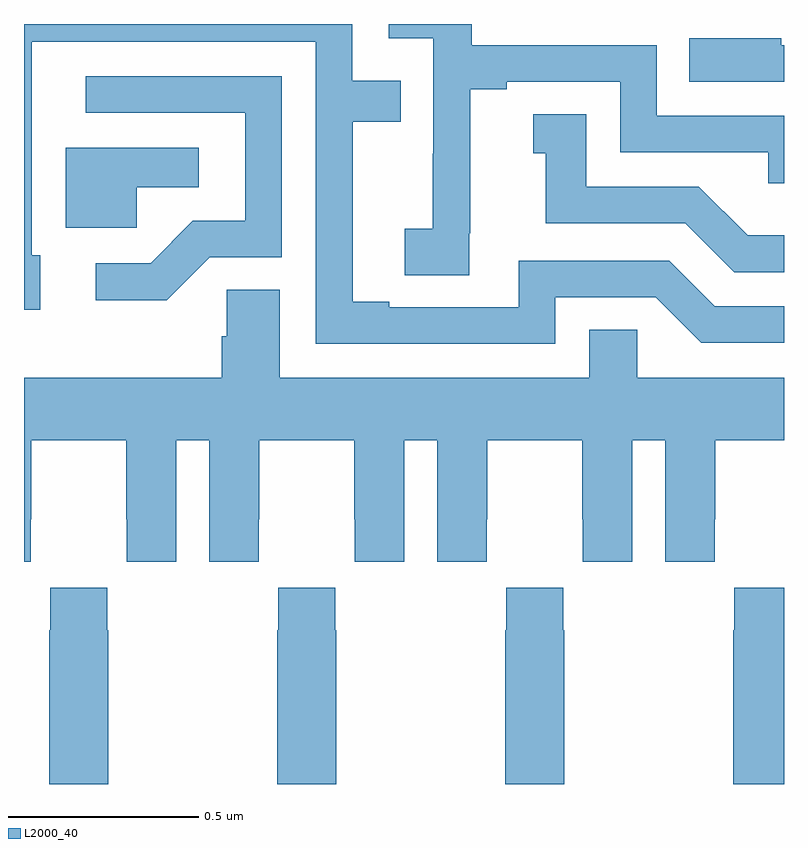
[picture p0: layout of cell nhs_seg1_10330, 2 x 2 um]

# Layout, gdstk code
import gdstk
lib = gdstk.Library(unit=1e-6, precision=1e-09)
def P(c, l, *ps):  # polygons
    for p in ps: c.add(gdstk.Polygon(p, *l))
L2000_40 = (2000, 40)

nhs_seg1_10330 = lib.new_cell('nhs_seg1_10330')
P(nhs_seg1_10330, L2000_40, [(241.398,513.48),(241.662,513.48),(241.782,513.36),(242,513.36),(242,513.456),(241.818,513.456),(241.698,513.576),(241.302,513.576),(241.302,513.453),(240.961,513.453),(240.961,513.468),(240.865,513.468),(240.865,513.942),(240.992,513.942),(240.992,514.05),(240.864,514.05),(240.864,514.199),(240,514.199),(240,513.447),(240.043,513.447),(240.043,513.591),(240.021,513.591),(240.021,514.152),(240.768,514.152),(240.768,513.357),(241.398,513.357)],
  [(241.172,513.649),(241.174,513.649),(241.174,514.027),(241.27,514.027),(241.27,514.047),(241.569,514.047),(241.569,513.861),(241.959,513.861),(241.959,513.78),(242,513.78),(242,513.957),(241.665,513.957),(241.665,514.143),(241.178,514.143),(241.178,514.199),(240.96,514.199),(240.96,514.161),(241.077,514.161),(241.077,513.857),(241.076,513.857),(241.076,513.66),(241.002,513.66),(241.002,513.538),(241.172,513.538)],
  [(242,514.143),(241.993,514.143),(241.993,514.162),(241.75,514.162),(241.75,514.047),(242,514.047)],
  [(240.489,513.585),(240.678,513.585),(240.678,514.062),(240.162,514.062),(240.162,513.966),(240.582,513.966),(240.582,513.681),(240.444,513.681),(240.333,513.57),(240.189,513.57),(240.189,513.472),(240.376,513.472)],
  [(242,513.643),(241.904,513.643),(241.776,513.771),(241.48,513.771),(241.48,513.962),(241.34,513.962),(241.34,513.859),(241.373,513.859),(241.373,513.675),(241.74,513.675),(241.869,513.546),(242,513.546)],
  [(240.297,513.77),(240.46,513.77),(240.46,513.874),(240.11,513.874),(240.11,513.663),(240.297,513.663)],
  [(240,512.784),(240.018,512.784),(240.018,512.896),(240.019,512.896),(240.019,513.104),(240.269,513.104),(240.269,512.896),(240.27,512.896),(240.27,512.784),(240.4,512.784),(240.4,513.104),(240.488,513.104),(240.488,512.784),(240.618,512.784),(240.618,512.896),(240.619,512.896),(240.619,513.104),(240.869,513.104),(240.869,512.896),(240.87,512.896),(240.87,512.784),(241,512.784),(241,513.104),(241.088,513.104),(241.088,512.784),(241.218,512.784),(241.218,512.896),(241.219,512.896),(241.219,513.104),(241.469,513.104),(241.469,512.896),(241.47,512.896),(241.47,512.784),(241.6,512.784),(241.6,513.104),(241.688,513.104),(241.688,512.784),(241.818,512.784),(241.818,512.896),(241.819,512.896),(241.819,513.104),(242,513.104),(242,513.268),(241.614,513.268),(241.614,513.395),(241.487,513.395),(241.487,513.268),(240.673,513.268),(240.673,513.5),(240.534,513.5),(240.534,513.377),(240.521,513.377),(240.521,513.268),(240,513.268)],
  [(240.222,512.603),(240.219,512.603),(240.219,512.716),(240.069,512.716),(240.069,512.603),(240.067,512.603),(240.067,512.199),(240.222,512.199)],
  [(242,512.716),(241.869,512.716),(241.869,512.603),(241.867,512.603),(241.867,512.199),(242,512.199)],
  [(241.422,512.603),(241.419,512.603),(241.419,512.716),(241.269,512.716),(241.269,512.603),(241.267,512.603),(241.267,512.199),(241.422,512.199)],
  [(240.822,512.603),(240.819,512.603),(240.819,512.716),(240.669,512.716),(240.669,512.603),(240.667,512.603),(240.667,512.199),(240.822,512.199)])

lib.write_gds('nhs_seg1_10330.gds')
